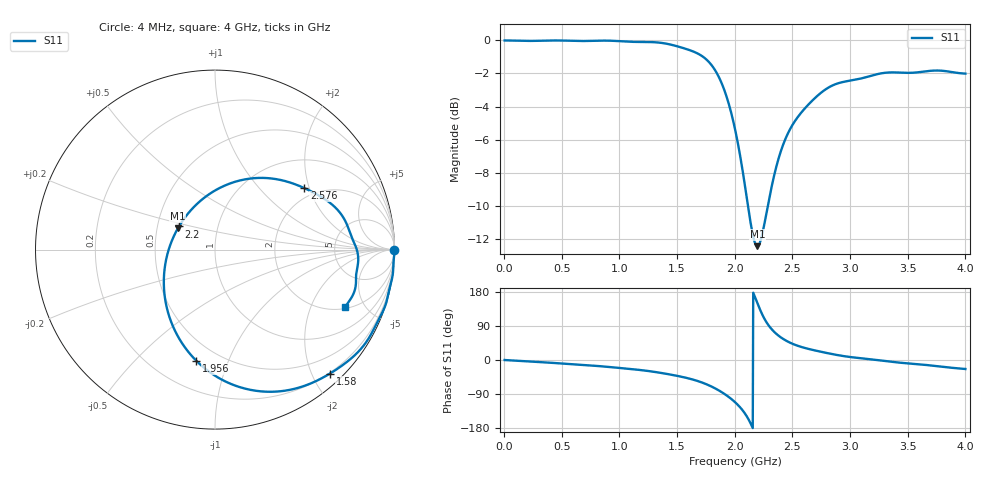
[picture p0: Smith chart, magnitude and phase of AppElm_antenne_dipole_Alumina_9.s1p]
! TOUCHSTONE file generated by CST MICROWAVE STUDIO
! Date and time: Sat May 14 11:42:18 2022
! Project name: AppElm_antenne_dipole_Alumina.cst
! Parameters = {L=37.95; e=0.035; f=2.45e+09; h=1.6; i=0.8; l1=2; lambda=122.449; ls=30; wl=1.7; ws=80}
! Header version: 2018
! Port assignment regex: !\s*Touchstone port\s*([0-9]+)\s*=\s*(CST MWS port|CST DS port)\s*([0-9]+|Zmin|Zmax)\s*\(\"(.*)\"\)(\s*mode\s*([0-9]+))?.*
! Touchstone port assignment:
! Touchstone port 1 = CST MWS port 1 ("")
# GHz S MA R 50
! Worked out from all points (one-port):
!   1000 points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, 4 MHz to 4 GHz, reference 50 ohm
!   lowest |S11| = -12.5 dB at 2.196 GHz (marker M1), VSWR 1.63, Z = 32.1 + j8.03 ohm
!   |S11| at or under -10 dB: 2.114 GHz to 2.287 GHz (172.9 MHz wide, 7.86 % of centre)
!   S11 on the Smith chart (normalised r, x): 4 MHz: open; 1.58 GHz: 0.19, -2.28; 1.956 GHz: 0.38, -0.77; 2.2 GHz: 0.65, +0.18; 2.576 GHz: 1.72, +1.85; 4 GHz: 2.09, -3.61
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0.004  1 -0.1
0.504  0.9994 -9.3
1.004  0.995 -21.1
1.296  0.9881 -31.0
1.504  0.9595 -42.1
1.58  0.942 -47.1
1.7  0.9042 -57.7
1.808  0.8337 -71.5
1.884  0.7455 -84.3
1.956  0.6284 -99.5
2.004  0.5353 -111.8
2.052  0.4364 -126.9
2.1  0.3413 -146.7
2.156  0.2584 -179.7
2.196  0.2384 150.3
2.2  0.2386 147.2
2.228  0.2508 126.8
2.268  0.2916 103.1
2.336  0.3829 76.0
2.408  0.4714 57.9
2.504  0.5576 42.4
2.576  0.6045 34.5
2.8  0.7157 18.4
3.004  0.756 7.7
3.284  0.7966 -2.0
3.504  0.7978 -9.0
3.74  0.8108 -15.8
4  0.7937 -23.7
